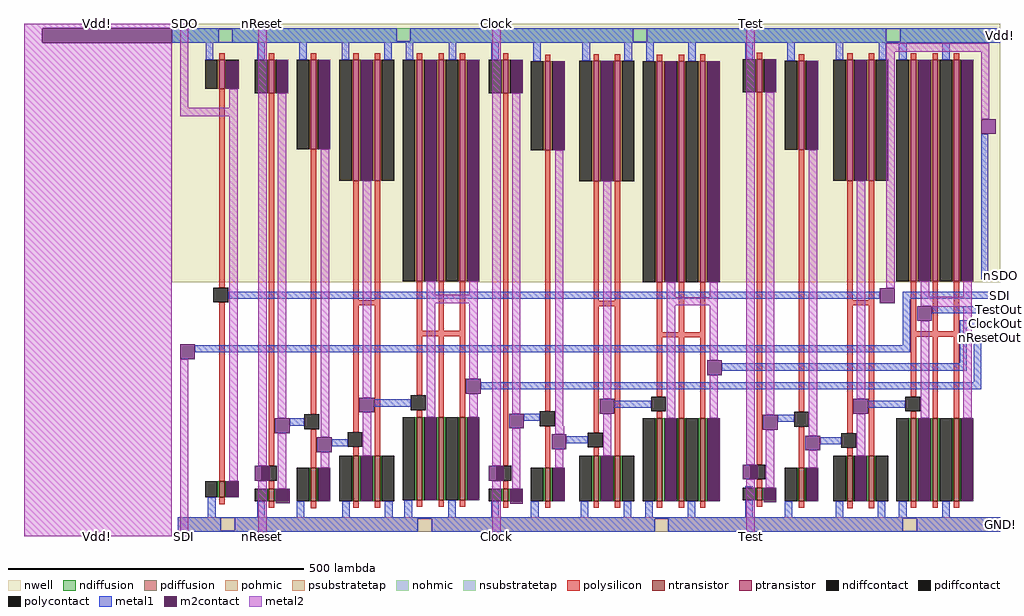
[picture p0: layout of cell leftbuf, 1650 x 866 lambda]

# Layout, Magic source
magic
tech tsmc180
<< nwell >>
rect 250 429 1650 866
<< polysilicon >>
rect 330 805 339 816
rect 414 805 423 816
rect 485 805 494 816
rect 557 805 566 816
rect 593 805 602 816
rect 664 805 673 816
rect 701 805 710 816
rect 737 805 746 816
rect 810 805 819 816
rect 330 420 339 756
rect 330 93 339 395
rect 414 119 423 749
rect 485 206 494 654
rect 557 399 566 601
rect 593 399 602 601
rect 881 803 890 814
rect 963 804 972 815
rect 999 804 1008 815
rect 557 390 602 399
rect 485 116 494 181
rect 557 176 566 390
rect 557 136 566 151
rect 593 136 602 390
rect 664 347 673 431
rect 701 347 710 431
rect 737 347 746 431
rect 664 338 746 347
rect 664 238 673 338
rect 664 201 673 213
rect 701 201 710 338
rect 737 201 746 338
rect 414 80 423 94
rect 330 54 339 66
rect 810 119 819 749
rect 881 211 890 652
rect 1070 803 1079 814
rect 1107 803 1116 814
rect 1143 803 1152 815
rect 1239 806 1248 817
rect 963 398 972 600
rect 999 398 1008 600
rect 1310 804 1319 815
rect 1392 805 1401 816
rect 1428 805 1437 816
rect 1499 805 1508 816
rect 1536 805 1545 816
rect 1572 805 1581 816
rect 963 389 1008 398
rect 881 116 890 186
rect 963 175 972 389
rect 963 136 972 150
rect 999 136 1008 389
rect 1070 345 1079 429
rect 1107 345 1116 429
rect 1143 345 1152 429
rect 1070 336 1152 345
rect 1070 236 1079 336
rect 1070 199 1079 211
rect 1107 199 1116 336
rect 1143 199 1152 336
rect 810 80 819 94
rect 414 48 423 59
rect 485 47 494 59
rect 557 48 566 59
rect 593 48 602 59
rect 664 50 673 61
rect 701 50 710 61
rect 737 50 746 61
rect 1239 121 1248 750
rect 1310 210 1319 653
rect 1392 399 1401 601
rect 1428 399 1437 601
rect 1392 390 1437 399
rect 1310 116 1319 185
rect 1392 174 1401 390
rect 1392 136 1401 149
rect 1428 136 1437 390
rect 1499 346 1508 431
rect 1536 346 1545 431
rect 1572 346 1581 431
rect 1499 337 1581 346
rect 1499 236 1508 337
rect 1499 199 1508 211
rect 1536 199 1545 337
rect 1572 199 1581 337
rect 1239 82 1248 96
rect 810 48 819 59
rect 881 48 890 59
rect 963 48 972 59
rect 999 48 1008 59
rect 1070 48 1079 59
rect 1107 48 1116 59
rect 1143 48 1152 59
rect 1239 50 1248 61
rect 1310 48 1319 59
rect 1392 47 1401 59
rect 1428 47 1437 59
rect 1499 48 1508 59
rect 1536 48 1545 59
rect 1572 48 1581 59
<< ndiffusion >>
rect 327 66 330 93
rect 339 66 342 93
rect 411 59 414 80
rect 423 59 426 80
rect 482 59 485 116
rect 494 59 497 116
rect 554 59 557 136
rect 566 59 569 136
rect 590 59 593 136
rect 602 59 605 136
rect 661 61 664 201
rect 673 61 677 201
rect 698 61 701 201
rect 710 61 713 201
rect 734 61 737 201
rect 746 61 749 201
rect 807 59 810 80
rect 819 59 822 80
rect 878 59 881 116
rect 890 59 893 116
rect 960 59 963 136
rect 972 59 975 136
rect 996 59 999 136
rect 1008 59 1011 136
rect 1067 59 1070 199
rect 1079 59 1083 199
rect 1104 59 1107 199
rect 1116 59 1119 199
rect 1140 59 1143 199
rect 1152 59 1155 199
rect 1236 61 1239 82
rect 1248 61 1251 82
rect 1307 59 1310 116
rect 1319 59 1322 116
rect 1389 59 1392 136
rect 1401 59 1404 136
rect 1425 59 1428 136
rect 1437 59 1440 136
rect 1496 59 1499 199
rect 1508 59 1512 199
rect 1533 59 1536 199
rect 1545 59 1548 199
rect 1569 59 1572 199
rect 1581 59 1584 199
<< pdiffusion >>
rect 327 756 330 805
rect 339 756 342 805
rect 411 749 414 805
rect 423 749 426 805
rect 482 654 485 805
rect 494 654 497 805
rect 554 601 557 805
rect 566 601 569 805
rect 590 601 593 805
rect 602 601 605 805
rect 661 431 664 805
rect 673 431 677 805
rect 698 431 701 805
rect 710 431 713 805
rect 734 431 737 805
rect 746 431 749 805
rect 807 749 810 805
rect 819 749 822 805
rect 878 652 881 803
rect 890 652 893 803
rect 960 600 963 804
rect 972 600 975 804
rect 996 600 999 804
rect 1008 600 1011 804
rect 1067 429 1070 803
rect 1079 429 1083 803
rect 1104 429 1107 803
rect 1116 429 1119 803
rect 1140 429 1143 803
rect 1152 429 1155 803
rect 1236 750 1239 806
rect 1248 750 1251 806
rect 1307 653 1310 804
rect 1319 653 1322 804
rect 1389 601 1392 805
rect 1401 601 1404 805
rect 1425 601 1428 805
rect 1437 601 1440 805
rect 1496 431 1499 805
rect 1508 431 1512 805
rect 1533 431 1536 805
rect 1545 431 1548 805
rect 1569 431 1572 805
rect 1581 431 1584 805
<< pohmic >>
rect 260 31 1650 32
rect 260 9 333 31
rect 356 30 1650 31
rect 356 29 1486 30
rect 356 9 666 29
rect 260 7 666 9
rect 689 7 1066 29
rect 1089 8 1486 29
rect 1509 8 1650 30
rect 1089 7 1650 8
<< nohmic >>
rect 250 857 630 859
rect 250 835 329 857
rect 352 837 630 857
rect 653 858 1650 859
rect 653 837 1030 858
rect 352 836 1030 837
rect 1053 836 1458 858
rect 1481 836 1650 858
rect 352 835 1650 836
rect 250 834 1650 835
<< ntransistor >>
rect 330 66 339 93
rect 414 59 423 80
rect 485 59 494 116
rect 557 59 566 136
rect 593 59 602 136
rect 664 61 673 201
rect 701 61 710 201
rect 737 61 746 201
rect 810 59 819 80
rect 881 59 890 116
rect 963 59 972 136
rect 999 59 1008 136
rect 1070 59 1079 199
rect 1107 59 1116 199
rect 1143 59 1152 199
rect 1239 61 1248 82
rect 1310 59 1319 116
rect 1392 59 1401 136
rect 1428 59 1437 136
rect 1499 59 1508 199
rect 1536 59 1545 199
rect 1572 59 1581 199
<< ptransistor >>
rect 330 756 339 805
rect 414 749 423 805
rect 485 654 494 805
rect 557 601 566 805
rect 593 601 602 805
rect 664 431 673 805
rect 701 431 710 805
rect 737 431 746 805
rect 810 749 819 805
rect 881 652 890 803
rect 963 600 972 804
rect 999 600 1008 804
rect 1070 429 1079 803
rect 1107 429 1116 803
rect 1143 429 1152 803
rect 1239 750 1248 806
rect 1310 653 1319 804
rect 1392 601 1401 805
rect 1428 601 1437 805
rect 1499 431 1508 805
rect 1536 431 1545 805
rect 1572 431 1581 805
<< polycontact >>
rect 320 395 345 420
rect 474 181 499 206
rect 402 94 427 119
rect 547 151 572 176
rect 654 213 679 238
rect 872 186 897 211
rect 799 94 824 119
rect 953 150 978 175
rect 1060 211 1085 236
rect 1302 185 1327 210
rect 1228 96 1253 121
rect 1382 149 1407 174
rect 1490 211 1515 236
<< ndiffcontact >>
rect 306 66 327 93
rect 342 66 363 93
rect 390 59 411 80
rect 426 59 447 80
rect 461 59 482 116
rect 497 59 518 116
rect 533 59 554 136
rect 569 59 590 136
rect 605 59 626 136
rect 640 61 661 201
rect 677 61 698 201
rect 713 61 734 201
rect 749 61 770 201
rect 786 59 807 80
rect 822 59 843 80
rect 857 59 878 116
rect 893 59 914 116
rect 939 59 960 136
rect 975 59 996 136
rect 1011 59 1032 136
rect 1046 59 1067 199
rect 1083 59 1104 199
rect 1119 59 1140 199
rect 1155 59 1176 199
rect 1215 61 1236 82
rect 1251 61 1272 82
rect 1286 59 1307 116
rect 1322 59 1343 116
rect 1368 59 1389 136
rect 1404 59 1425 136
rect 1440 59 1461 136
rect 1475 59 1496 199
rect 1512 59 1533 199
rect 1548 59 1569 199
rect 1584 59 1605 199
<< pdiffcontact >>
rect 306 756 327 805
rect 342 756 363 805
rect 390 749 411 805
rect 426 749 447 805
rect 461 654 482 805
rect 497 654 518 805
rect 533 601 554 805
rect 569 601 590 805
rect 605 601 626 805
rect 640 431 661 805
rect 677 431 698 805
rect 713 431 734 805
rect 749 431 770 805
rect 786 749 807 805
rect 822 749 843 805
rect 857 652 878 803
rect 893 652 914 803
rect 939 600 960 804
rect 975 600 996 804
rect 1011 600 1032 804
rect 1046 429 1067 803
rect 1083 429 1104 803
rect 1119 429 1140 803
rect 1155 429 1176 803
rect 1215 750 1236 806
rect 1251 750 1272 806
rect 1286 653 1307 804
rect 1322 653 1343 804
rect 1368 601 1389 805
rect 1404 601 1425 805
rect 1440 601 1461 805
rect 1475 431 1496 805
rect 1512 431 1533 805
rect 1548 431 1569 805
rect 1584 431 1605 805
<< psubstratetap >>
rect 333 9 356 31
rect 666 7 689 29
rect 1066 7 1089 29
rect 1486 8 1509 30
<< nsubstratetap >>
rect 329 835 352 857
rect 630 837 653 859
rect 1030 836 1053 858
rect 1458 836 1481 858
<< metal1 >>
rect 250 857 630 859
rect 250 835 329 857
rect 352 837 630 857
rect 653 858 1650 859
rect 653 837 1030 858
rect 352 836 1030 837
rect 1053 836 1458 858
rect 1481 836 1650 858
rect 352 835 1650 836
rect 250 834 1650 835
rect 307 805 320 834
rect 394 805 407 834
rect 465 805 478 834
rect 537 805 550 834
rect 609 805 622 834
rect 645 805 658 834
rect 718 805 731 834
rect 790 805 803 834
rect 861 803 874 834
rect 944 804 957 834
rect 1015 804 1028 834
rect 1052 803 1065 834
rect 1123 803 1136 834
rect 1219 806 1232 834
rect 1290 804 1303 834
rect 1372 805 1385 834
rect 1445 805 1458 834
rect 1479 805 1492 834
rect 1552 805 1565 834
rect 1618 446 1630 680
rect 1618 434 1650 446
rect 345 401 1447 413
rect 1486 401 1650 413
rect 1486 323 1498 401
rect 1535 377 1650 389
rect 289 311 1498 323
rect 1582 353 1650 365
rect 1582 292 1594 353
rect 1180 280 1594 292
rect 1606 329 1650 341
rect 1606 260 1618 329
rect 772 248 1618 260
rect 592 219 654 231
rect 449 187 474 199
rect 520 152 547 164
rect 311 32 324 66
rect 394 32 407 59
rect 845 195 872 207
rect 998 217 1060 229
rect 917 157 953 169
rect 461 32 474 59
rect 538 32 551 59
rect 610 32 623 59
rect 643 32 656 61
rect 717 32 730 61
rect 790 32 803 59
rect 1274 193 1302 205
rect 1427 217 1490 229
rect 1346 155 1382 167
rect 1219 82 1232 84
rect 857 32 870 59
rect 941 32 954 59
rect 1014 32 1027 59
rect 1050 32 1063 59
rect 1122 32 1135 59
rect 1219 32 1232 61
rect 1286 32 1299 59
rect 1372 32 1385 59
rect 1443 32 1456 59
rect 1479 32 1492 59
rect 1552 32 1565 59
rect 260 31 1650 32
rect 260 9 333 31
rect 356 30 1650 31
rect 356 29 1486 30
rect 356 9 666 29
rect 260 7 666 9
rect 689 7 1066 29
rect 1089 8 1486 29
rect 1509 8 1650 30
rect 1089 7 1650 8
<< m2contact >>
rect 31 834 250 859
rect 343 756 362 803
rect 428 749 447 805
rect 499 654 518 805
rect 570 601 589 805
rect 678 431 697 805
rect 750 431 769 805
rect 824 749 843 805
rect 895 652 914 803
rect 976 600 995 804
rect 1084 429 1103 803
rect 1156 429 1175 803
rect 1253 750 1272 806
rect 1324 653 1343 804
rect 1405 601 1424 805
rect 1513 431 1532 805
rect 1585 431 1604 805
rect 1618 680 1643 705
rect 1447 394 1472 419
rect 264 299 289 324
rect 1510 364 1535 389
rect 1155 272 1180 297
rect 747 241 772 266
rect 567 209 592 234
rect 424 174 449 199
rect 495 142 520 167
rect 390 94 402 119
rect 402 94 415 119
rect 342 66 363 93
rect 426 59 447 80
rect 447 59 449 80
rect 426 56 449 59
rect 499 59 518 116
rect 570 59 589 136
rect 678 61 697 201
rect 750 61 769 201
rect 820 182 845 207
rect 973 207 998 232
rect 892 147 917 172
rect 786 94 799 119
rect 799 94 811 119
rect 822 59 843 80
rect 822 55 843 59
rect 895 59 914 116
rect 976 59 995 136
rect 1084 59 1103 199
rect 1156 59 1175 199
rect 1249 180 1274 205
rect 1402 207 1427 232
rect 1321 145 1346 170
rect 1215 96 1228 121
rect 1228 96 1240 121
rect 1251 61 1272 82
rect 1251 57 1272 61
rect 1324 59 1343 116
rect 1405 59 1424 136
rect 1513 59 1532 199
rect 1585 59 1604 199
<< metal2 >>
rect 0 859 250 866
rect 0 834 31 859
rect 0 0 250 834
rect 264 724 278 866
rect 347 724 361 756
rect 264 710 361 724
rect 264 0 278 299
rect 347 93 361 710
rect 396 119 410 866
rect 429 199 443 749
rect 396 0 410 94
rect 429 80 443 174
rect 502 167 516 654
rect 573 234 587 601
rect 681 408 695 431
rect 753 408 767 431
rect 681 394 767 408
rect 502 116 516 142
rect 573 136 587 209
rect 681 201 695 394
rect 753 266 767 394
rect 753 201 767 241
rect 792 119 806 866
rect 825 207 839 749
rect 898 186 912 652
rect 979 232 993 600
rect 1087 404 1101 429
rect 1159 404 1173 429
rect 1087 390 1173 404
rect 792 0 806 94
rect 825 80 839 182
rect 898 172 913 186
rect 898 146 913 147
rect 898 116 912 146
rect 979 136 993 207
rect 1087 199 1101 390
rect 1159 297 1173 390
rect 1159 199 1173 272
rect 1221 121 1235 866
rect 1458 819 1632 833
rect 1254 205 1268 750
rect 1221 0 1235 96
rect 1254 82 1268 180
rect 1327 170 1341 653
rect 1408 232 1422 601
rect 1458 419 1472 819
rect 1618 705 1632 819
rect 1516 405 1530 431
rect 1588 405 1602 431
rect 1516 389 1602 405
rect 1535 388 1602 389
rect 1327 116 1341 145
rect 1408 136 1422 207
rect 1516 199 1530 364
rect 1588 199 1602 388
<< labels >>
rlabel metal1 1650 329 1650 341 7 nResetOut
rlabel metal1 1650 353 1650 365 7 ClockOut
rlabel metal1 1650 377 1650 389 7 TestOut
rlabel metal1 1650 401 1650 413 7 SDI
rlabel metal1 1650 434 1650 446 7 nSDO
rlabel metal1 1650 834 1650 859 7 Vdd!
rlabel metal1 1650 7 1650 32 7 GND!
rlabel metal2 264 0 278 0 1 SDI
rlabel metal2 396 0 410 0 1 nReset
rlabel metal2 792 0 806 0 1 Clock
rlabel metal2 1221 0 1235 0 1 Test
rlabel metal2 1221 866 1235 866 5 Test
rlabel metal2 792 866 806 866 5 Clock
rlabel metal2 396 866 410 866 5 nReset
rlabel metal2 264 866 278 866 5 SDO
rlabel metal2 0 866 250 866 5 Vdd!
rlabel metal2 0 0 250 0 1 Vdd!
<< end >>
